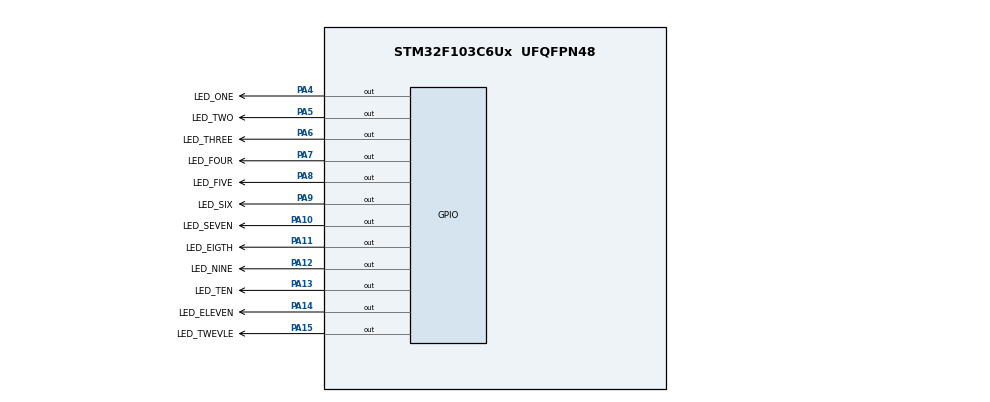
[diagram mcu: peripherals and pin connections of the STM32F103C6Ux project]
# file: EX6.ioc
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Mcu.Family=STM32F1
Mcu.Name=STM32F103C6Ux
Mcu.Package=UFQFPN48
NVIC.PriorityGroup=NVIC_PRIORITYGROUP_4
PA10.GPIO_Label=LED_SEVEN
PA10.Signal=GPIO_Output
PA11.GPIO_Label=LED_EIGTH
PA11.Signal=GPIO_Output
PA12.GPIO_Label=LED_NINE
PA12.Signal=GPIO_Output
PA13.GPIO_Label=LED_TEN
PA13.Signal=GPIO_Output
PA14.GPIO_Label=LED_ELEVEN
PA14.Signal=GPIO_Output
PA15.GPIO_Label=LED_TWEVLE
PA15.Signal=GPIO_Output
PA4.GPIO_Label=LED_ONE
PA4.Signal=GPIO_Output
PA5.GPIO_Label=LED_TWO
PA5.Signal=GPIO_Output
PA6.GPIO_Label=LED_THREE
PA6.Signal=GPIO_Output
PA7.GPIO_Label=LED_FOUR
PA7.Signal=GPIO_Output
PA8.GPIO_Label=LED_FIVE
PA8.Signal=GPIO_Output
PA9.GPIO_Label=LED_SIX
PA9.Signal=GPIO_Output
ProjectManager.HeapSize=0x200
ProjectManager.StackSize=0x400
ProjectManager.TargetToolchain=STM32CubeIDE
RCC.APB1Freq_Value=8000000
RCC.APB2Freq_Value=8000000
VP_SYS_VS_ND.Mode=No_Debug
board=custom

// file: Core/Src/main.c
/* USER CODE BEGIN Header */
/**
  ******************************************************************************
  * @file           : main.c
  * @brief          : Main program body
  ******************************************************************************
  * @attention
  *
  * <h2><center>&copy; Copyright (c) 2024 STMicroelectronics.
  * All rights reserved.</center></h2>
  *
  * This software component is licensed by ST under BSD 3-Clause license,
  * the "License"; You may not use this file except in compliance with the
  * License. You may obtain a copy of the License at:
  *                        opensource.org/licenses/BSD-3-Clause
  *
  ******************************************************************************
  */
/* USER CODE END Header */
#include "main.h"

void SystemClock_Config(void);
static void MX_GPIO_Init(void);

int main(void)
{

  /* MCU Configuration--------------------------------------------------------*/

  /* Reset of all peripherals, Initializes the Flash interface and the Systick. */
  HAL_Init();

  /* Configure the system clock */
  SystemClock_Config();

  /* Initialize all configured peripherals */
  MX_GPIO_Init();

  /* Infinite loop */
  /* USER CODE BEGIN WHILE */
  int counter  = 1;
  while (1)
  {
    /* USER CODE END WHILE */

    /* USER CODE BEGIN 3 */
	  if (counter > 12) counter = 1;
	  				switch (counter) {
	  				case 1:
	  					HAL_GPIO_WritePin(LED_ONE_GPIO_Port, LED_ONE_Pin, RESET);
	  					HAL_GPIO_WritePin(LED_TWO_GPIO_Port, LED_TWO_Pin, SET);
	  					HAL_GPIO_WritePin(LED_THREE_GPIO_Port, LED_THREE_Pin, SET);
	  					HAL_GPIO_WritePin(LED_FOUR_GPIO_Port, LED_FOUR_Pin, SET);
	  					HAL_GPIO_WritePin(LED_FIVE_GPIO_Port, LED_FIVE_Pin, SET);
	  					HAL_GPIO_WritePin(LED_SIX_GPIO_Port, LED_SIX_Pin, SET);
	  					HAL_GPIO_WritePin(LED_SEVEN_GPIO_Port, LED_SEVEN_Pin, SET);
	  					HAL_GPIO_WritePin(LED_EIGTH_GPIO_Port, LED_EIGTH_Pin, SET);
	  					HAL_GPIO_WritePin(LED_NINE_GPIO_Port, LED_NINE_Pin, SET);
	  					HAL_GPIO_WritePin(LED_TEN_GPIO_Port, LED_TEN_Pin, SET);
	  					HAL_GPIO_WritePin(LED_ELEVEN_GPIO_Port, LED_ELEVEN_Pin, SET);
	  					HAL_GPIO_WritePin(LED_TWEVLE_GPIO_Port, LED_TWEVLE_Pin, SET);
	  					break;
	  				case 2:
	  					HAL_GPIO_WritePin(LED_ONE_GPIO_Port, LED_ONE_Pin, SET);
	  					HAL_GPIO_WritePin(LED_TWO_GPIO_Port, LED_TWO_Pin, RESET);
	  					HAL_GPIO_WritePin(LED_THREE_GPIO_Port, LED_THREE_Pin, SET);
	  					HAL_GPIO_WritePin(LED_FOUR_GPIO_Port, LED_FOUR_Pin, SET);
	  					HAL_GPIO_WritePin(LED_FIVE_GPIO_Port, LED_FIVE_Pin, SET);
	  					HAL_GPIO_WritePin(LED_SIX_GPIO_Port, LED_SIX_Pin, SET);
	  					HAL_GPIO_WritePin(LED_SEVEN_GPIO_Port, LED_SEVEN_Pin, SET);
	  					HAL_GPIO_WritePin(LED_EIGTH_GPIO_Port, LED_EIGTH_Pin, SET);
	  					HAL_GPIO_WritePin(LED_NINE_GPIO_Port, LED_NINE_Pin, SET);
	  					HAL_GPIO_WritePin(LED_TEN_GPIO_Port, LED_TEN_Pin, SET);
	  					HAL_GPIO_WritePin(LED_ELEVEN_GPIO_Port, LED_ELEVEN_Pin, SET);
	  					HAL_GPIO_WritePin(LED_TWEVLE_GPIO_Port, LED_TWEVLE_Pin, SET);
	  					break;
	  				case 3:
	  					HAL_GPIO_WritePin(LED_ONE_GPIO_Port, LED_ONE_Pin, SET);
	  					HAL_GPIO_WritePin(LED_TWO_GPIO_Port, LED_TWO_Pin, SET);
	  					HAL_GPIO_WritePin(LED_THREE_GPIO_Port, LED_THREE_Pin, RESET);
	  					HAL_GPIO_WritePin(LED_FOUR_GPIO_Port, LED_FOUR_Pin, SET);
	  					HAL_GPIO_WritePin(LED_FIVE_GPIO_Port, LED_FIVE_Pin, SET);
	  					HAL_GPIO_WritePin(LED_SIX_GPIO_Port, LED_SIX_Pin, SET);
	  					HAL_GPIO_WritePin(LED_SEVEN_GPIO_Port, LED_SEVEN_Pin, SET);
	  					HAL_GPIO_WritePin(LED_EIGTH_GPIO_Port, LED_EIGTH_Pin, SET);
	  					HAL_GPIO_WritePin(LED_NINE_GPIO_Port, LED_NINE_Pin, SET);
	  					HAL_GPIO_WritePin(LED_TEN_GPIO_Port, LED_TEN_Pin, SET);
	  					HAL_GPIO_WritePin(LED_ELEVEN_GPIO_Port, LED_ELEVEN_Pin, SET);
	  					HAL_GPIO_WritePin(LED_TWEVLE_GPIO_Port, LED_TWEVLE_Pin, SET);
	  					break;
	  				case 4:
	  							HAL_GPIO_WritePin(LED_ONE_GPIO_Port, LED_ONE_Pin, SET);
	  							HAL_GPIO_WritePin(LED_TWO_GPIO_Port, LED_TWO_Pin, SET);
	  							HAL_GPIO_WritePin(LED_THREE_GPIO_Port, LED_THREE_Pin, SET);
	  							HAL_GPIO_WritePin(LED_FOUR_GPIO_Port, LED_FOUR_Pin, RESET);
	  							HAL_GPIO_WritePin(LED_FIVE_GPIO_Port, LED_FIVE_Pin, SET);
	  							HAL_GPIO_WritePin(LED_SIX_GPIO_Port, LED_SIX_Pin, SET);
	  							HAL_GPIO_WritePin(LED_SEVEN_GPIO_Port, LED_SEVEN_Pin, SET);
	  							HAL_GPIO_WritePin(LED_EIGTH_GPIO_Port, LED_EIGTH_Pin, SET);
	  							HAL_GPIO_WritePin(LED_NINE_GPIO_Port, LED_NINE_Pin, SET);
	  							HAL_GPIO_WritePin(LED_TEN_GPIO_Port, LED_TEN_Pin, SET);
	  							HAL_GPIO_WritePin(LED_ELEVEN_GPIO_Port, LED_ELEVEN_Pin, SET);
	  							HAL_GPIO_WritePin(LED_TWEVLE_GPIO_Port, LED_TWEVLE_Pin, SET);
	  							break;
	  				case 5:
	  							HAL_GPIO_WritePin(LED_ONE_GPIO_Port, LED_ONE_Pin, SET);
	  							HAL_GPIO_WritePin(LED_TWO_GPIO_Port, LED_TWO_Pin, SET);
	  							HAL_GPIO_WritePin(LED_THREE_GPIO_Port, LED_THREE_Pin, SET);
	  							HAL_GPIO_WritePin(LED_FOUR_GPIO_Port, LED_FOUR_Pin, SET);
	  							HAL_GPIO_WritePin(LED_FIVE_GPIO_Port, LED_FIVE_Pin, RESET);
	  							HAL_GPIO_WritePin(LED_SIX_GPIO_Port, LED_SIX_Pin, SET);
	  							HAL_GPIO_WritePin(LED_SEVEN_GPIO_Port, LED_SEVEN_Pin, SET);
	  							HAL_GPIO_WritePin(LED_EIGTH_GPIO_Port, LED_EIGTH_Pin, SET);
	  							HAL_GPIO_WritePin(LED_NINE_GPIO_Port, LED_NINE_Pin, SET);
	  							HAL_GPIO_WritePin(LED_TEN_GPIO_Port, LED_TEN_Pin, SET);
	  							HAL_GPIO_WritePin(LED_ELEVEN_GPIO_Port, LED_ELEVEN_Pin, SET);
	  							HAL_GPIO_WritePin(LED_TWEVLE_GPIO_Port, LED_TWEVLE_Pin, SET);
	  							break;
	  				case 6:
	  							HAL_GPIO_WritePin(LED_ONE_GPIO_Port, LED_ONE_Pin, SET);
	  							HAL_GPIO_WritePin(LED_TWO_GPIO_Port, LED_TWO_Pin, SET);
	  							HAL_GPIO_WritePin(LED_THREE_GPIO_Port, LED_THREE_Pin, SET);
	  							HAL_GPIO_WritePin(LED_FOUR_GPIO_Port, LED_FOUR_Pin, SET);
	  							HAL_GPIO_WritePin(LED_FIVE_GPIO_Port, LED_FIVE_Pin, SET);
	  							HAL_GPIO_WritePin(LED_SIX_GPIO_Port, LED_SIX_Pin, RESET);
	  							HAL_GPIO_WritePin(LED_SEVEN_GPIO_Port, LED_SEVEN_Pin, SET);
	  							HAL_GPIO_WritePin(LED_EIGTH_GPIO_Port, LED_EIGTH_Pin, SET);
	  							HAL_GPIO_WritePin(LED_NINE_GPIO_Port, LED_NINE_Pin, SET);
	  							HAL_GPIO_WritePin(LED_TEN_GPIO_Port, LED_TEN_Pin, SET);
	  							HAL_GPIO_WritePin(LED_ELEVEN_GPIO_Port, LED_ELEVEN_Pin, SET);
	  							HAL_GPIO_WritePin(LED_TWEVLE_GPIO_Port, LED_TWEVLE_Pin, SET);
	  							break;
	  				case 7:
	  							HAL_GPIO_WritePin(LED_ONE_GPIO_Port, LED_ONE_Pin, SET);
	  							HAL_GPIO_WritePin(LED_TWO_GPIO_Port, LED_TWO_Pin, SET);
	  							HAL_GPIO_WritePin(LED_THREE_GPIO_Port, LED_THREE_Pin, SET);
	  							HAL_GPIO_WritePin(LED_FOUR_GPIO_Port, LED_FOUR_Pin, SET);
	  							HAL_GPIO_WritePin(LED_FIVE_GPIO_Port, LED_FIVE_Pin, SET);
	  							HAL_GPIO_WritePin(LED_SIX_GPIO_Port, LED_SIX_Pin, SET);
	  							HAL_GPIO_WritePin(LED_SEVEN_GPIO_Port, LED_SEVEN_Pin, RESET);
	  							HAL_GPIO_WritePin(LED_EIGTH_GPIO_Port, LED_EIGTH_Pin, SET);
	  							HAL_GPIO_WritePin(LED_NINE_GPIO_Port, LED_NINE_Pin, SET);
	  							HAL_GPIO_WritePin(LED_TEN_GPIO_Port, LED_TEN_Pin, SET);
	  							HAL_GPIO_WritePin(LED_ELEVEN_GPIO_Port, LED_ELEVEN_Pin, SET);
	  							HAL_GPIO_WritePin(LED_TWEVLE_GPIO_Port, LED_TWEVLE_Pin, SET);
	  							break;
	  				case 8:
	  							HAL_GPIO_WritePin(LED_ONE_GPIO_Port, LED_ONE_Pin, SET);
	  							HAL_GPIO_WritePin(LED_TWO_GPIO_Port, LED_TWO_Pin, SET);
	  							HAL_GPIO_WritePin(LED_THREE_GPIO_Port, LED_THREE_Pin, SET);
	  							HAL_GPIO_WritePin(LED_FOUR_GPIO_Port, LED_FOUR_Pin, SET);
	  							HAL_GPIO_WritePin(LED_FIVE_GPIO_Port, LED_FIVE_Pin, SET);
	  							HAL_GPIO_WritePin(LED_SIX_GPIO_Port, LED_SIX_Pin, SET);
	  							HAL_GPIO_WritePin(LED_SEVEN_GPIO_Port, LED_SEVEN_Pin, SET);
	  							HAL_GPIO_WritePin(LED_EIGTH_GPIO_Port, LED_EIGTH_Pin, RESET);
	  							HAL_GPIO_WritePin(LED_NINE_GPIO_Port, LED_NINE_Pin, SET);
	  							HAL_GPIO_WritePin(LED_TEN_GPIO_Port, LED_TEN_Pin, SET);
	  							HAL_GPIO_WritePin(LED_ELEVEN_GPIO_Port, LED_ELEVEN_Pin, SET);
	  							HAL_GPIO_WritePin(LED_TWEVLE_GPIO_Port, LED_TWEVLE_Pin, SET);
	  							break;
	  				case 9:
	  							HAL_GPIO_WritePin(LED_ONE_GPIO_Port, LED_ONE_Pin, SET);
	  							HAL_GPIO_WritePin(LED_TWO_GPIO_Port, LED_TWO_Pin, SET);
	  							HAL_GPIO_WritePin(LED_THREE_GPIO_Port, LED_THREE_Pin, SET);
	  							HAL_GPIO_WritePin(LED_FOUR_GPIO_Port, LED_FOUR_Pin, SET);
	  							HAL_GPIO_WritePin(LED_FIVE_GPIO_Port, LED_FIVE_Pin, SET);
	  							HAL_GPIO_WritePin(LED_SIX_GPIO_Port, LED_SIX_Pin, SET);
	  							HAL_GPIO_WritePin(LED_SEVEN_GPIO_Port, LED_SEVEN_Pin, SET);
	  							HAL_GPIO_WritePin(LED_EIGTH_GPIO_Port, LED_EIGTH_Pin, SET);
	  							HAL_GPIO_WritePin(LED_NINE_GPIO_Port, LED_NINE_Pin, RESET);
	  							HAL_GPIO_WritePin(LED_TEN_GPIO_Port, LED_TEN_Pin, SET);
	  							HAL_GPIO_WritePin(LED_ELEVEN_GPIO_Port, LED_ELEVEN_Pin, SET);
	  							HAL_GPIO_WritePin(LED_TWEVLE_GPIO_Port, LED_TWEVLE_Pin, SET);
	  							break;
	  				case 10:
	  							HAL_GPIO_WritePin(LED_ONE_GPIO_Port, LED_ONE_Pin, SET);
	  							HAL_GPIO_WritePin(LED_TWO_GPIO_Port, LED_TWO_Pin, SET);
	  							HAL_GPIO_WritePin(LED_THREE_GPIO_Port, LED_THREE_Pin, SET);
	  							HAL_GPIO_WritePin(LED_FOUR_GPIO_Port, LED_FOUR_Pin, SET);
	  							HAL_GPIO_WritePin(LED_FIVE_GPIO_Port, LED_FIVE_Pin, SET);
	  							HAL_GPIO_WritePin(LED_SIX_GPIO_Port, LED_SIX_Pin, SET);
	  							HAL_GPIO_WritePin(LED_SEVEN_GPIO_Port, LED_SEVEN_Pin, SET);
	  							HAL_GPIO_WritePin(LED_EIGTH_GPIO_Port, LED_EIGTH_Pin, SET);
	  							HAL_GPIO_WritePin(LED_NINE_GPIO_Port, LED_NINE_Pin, SET);
	  							HAL_GPIO_WritePin(LED_TEN_GPIO_Port, LED_TEN_Pin, RESET);
	  							HAL_GPIO_WritePin(LED_ELEVEN_GPIO_Port, LED_ELEVEN_Pin, SET);
	  							HAL_GPIO_WritePin(LED_TWEVLE_GPIO_Port, LED_TWEVLE_Pin, SET);
	  							break;
	  				case 11:
	  							HAL_GPIO_WritePin(LED_ONE_GPIO_Port, LED_ONE_Pin, SET);
	  							HAL_GPIO_WritePin(LED_TWO_GPIO_Port, LED_TWO_Pin, SET);
	  							HAL_GPIO_WritePin(LED_THREE_GPIO_Port, LED_THREE_Pin, SET);
	  							HAL_GPIO_WritePin(LED_FOUR_GPIO_Port, LED_FOUR_Pin, SET);
	  							HAL_GPIO_WritePin(LED_FIVE_GPIO_Port, LED_FIVE_Pin, SET);
	  							HAL_GPIO_WritePin(LED_SIX_GPIO_Port, LED_SIX_Pin, SET);
	  							HAL_GPIO_WritePin(LED_SEVEN_GPIO_Port, LED_SEVEN_Pin, SET);
	  							HAL_GPIO_WritePin(LED_EIGTH_GPIO_Port, LED_EIGTH_Pin, SET);
	  							HAL_GPIO_WritePin(LED_NINE_GPIO_Port, LED_NINE_Pin, SET);
	  							HAL_GPIO_WritePin(LED_TEN_GPIO_Port, LED_TEN_Pin, SET);
	  							HAL_GPIO_WritePin(LED_ELEVEN_GPIO_Port, LED_ELEVEN_Pin, RESET);
	  							HAL_GPIO_WritePin(LED_TWEVLE_GPIO_Port, LED_TWEVLE_Pin, SET);
	  							break;
	  				case 12:
	  							HAL_GPIO_WritePin(LED_ONE_GPIO_Port, LED_ONE_Pin, SET);
	  							HAL_GPIO_WritePin(LED_TWO_GPIO_Port, LED_TWO_Pin, SET);
	  							HAL_GPIO_WritePin(LED_THREE_GPIO_Port, LED_THREE_Pin, SET);
	  							HAL_GPIO_WritePin(LED_FOUR_GPIO_Port, LED_FOUR_Pin, SET);
	  							HAL_GPIO_WritePin(LED_FIVE_GPIO_Port, LED_FIVE_Pin, SET);
	  							HAL_GPIO_WritePin(LED_SIX_GPIO_Port, LED_SIX_Pin, SET);
	  							HAL_GPIO_WritePin(LED_SEVEN_GPIO_Port, LED_SEVEN_Pin, SET);
	  							HAL_GPIO_WritePin(LED_EIGTH_GPIO_Port, LED_EIGTH_Pin, SET);
	  							HAL_GPIO_WritePin(LED_NINE_GPIO_Port, LED_NINE_Pin, SET);
	  							HAL_GPIO_WritePin(LED_TEN_GPIO_Port, LED_TEN_Pin, SET);
	  							HAL_GPIO_WritePin(LED_ELEVEN_GPIO_Port, LED_ELEVEN_Pin, SET);
	  							HAL_GPIO_WritePin(LED_TWEVLE_GPIO_Port, LED_TWEVLE_Pin, RESET);
	  							break;
	  				default:
	  					break;
	  				}
	  				counter++;
	  				HAL_Delay(1000);
  }
  /* USER CODE END 3 */

}

void SystemClock_Config(void)
{
  RCC_OscInitTypeDef RCC_OscInitStruct = {0};
  RCC_ClkInitTypeDef RCC_ClkInitStruct = {0};

  /** Initializes the RCC Oscillators according to the specified parameters
  * in the RCC_OscInitTypeDef structure.
  */
  RCC_OscInitStruct.OscillatorType = RCC_OSCILLATORTYPE_HSI;
  RCC_OscInitStruct.HSIState = RCC_HSI_ON;
  RCC_OscInitStruct.HSICalibrationValue = RCC_HSICALIBRATION_DEFAULT;
  RCC_OscInitStruct.PLL.PLLState = RCC_PLL_NONE;
  if (HAL_RCC_OscConfig(&RCC_OscInitStruct) != HAL_OK)
  {
    Error_Handler();
  }
  /** Initializes the CPU, AHB and APB buses clocks
  */
  RCC_ClkInitStruct.ClockType = RCC_CLOCKTYPE_HCLK|RCC_CLOCKTYPE_SYSCLK
                              |RCC_CLOCKTYPE_PCLK1|RCC_CLOCKTYPE_PCLK2;
  RCC_ClkInitStruct.SYSCLKSource = RCC_SYSCLKSOURCE_HSI;
  RCC_ClkInitStruct.AHBCLKDivider = RCC_SYSCLK_DIV1;
  RCC_ClkInitStruct.APB1CLKDivider = RCC_HCLK_DIV1;
  RCC_ClkInitStruct.APB2CLKDivider = RCC_HCLK_DIV1;

  if (HAL_RCC_ClockConfig(&RCC_ClkInitStruct, FLASH_LATENCY_0) != HAL_OK)
  {
    Error_Handler();
  }
}

static void MX_GPIO_Init(void)
{
  GPIO_InitTypeDef GPIO_InitStruct = {0};

  /* GPIO Ports Clock Enable */
  __HAL_RCC_GPIOA_CLK_ENABLE();

  /*Configure GPIO pin Output Level */
  HAL_GPIO_WritePin(GPIOA, LED_ONE_Pin|LED_TWO_Pin|LED_THREE_Pin|LED_FOUR_Pin
                          |LED_FIVE_Pin|LED_SIX_Pin|LED_SEVEN_Pin|LED_EIGTH_Pin
                          |LED_NINE_Pin|LED_TEN_Pin|LED_ELEVEN_Pin|LED_TWEVLE_Pin, GPIO_PIN_RESET);

  /*Configure GPIO pins : LED_ONE_Pin LED_TWO_Pin LED_THREE_Pin LED_FOUR_Pin
                           LED_FIVE_Pin LED_SIX_Pin LED_SEVEN_Pin LED_EIGTH_Pin
                           LED_NINE_Pin LED_TEN_Pin LED_ELEVEN_Pin LED_TWEVLE_Pin */
  GPIO_InitStruct.Pin = LED_ONE_Pin|LED_TWO_Pin|LED_THREE_Pin|LED_FOUR_Pin
                          |LED_FIVE_Pin|LED_SIX_Pin|LED_SEVEN_Pin|LED_EIGTH_Pin
                          |LED_NINE_Pin|LED_TEN_Pin|LED_ELEVEN_Pin|LED_TWEVLE_Pin;
  GPIO_InitStruct.Mode = GPIO_MODE_OUTPUT_PP;
  GPIO_InitStruct.Pull = GPIO_NOPULL;
  GPIO_InitStruct.Speed = GPIO_SPEED_FREQ_LOW;
  HAL_GPIO_Init(GPIOA, &GPIO_InitStruct);

}

void Error_Handler(void)
{
  __disable_irq();
  while (1)
  {
  }
}

/************************ (C) COPYRIGHT STMicroelectronics *****END OF FILE****/
